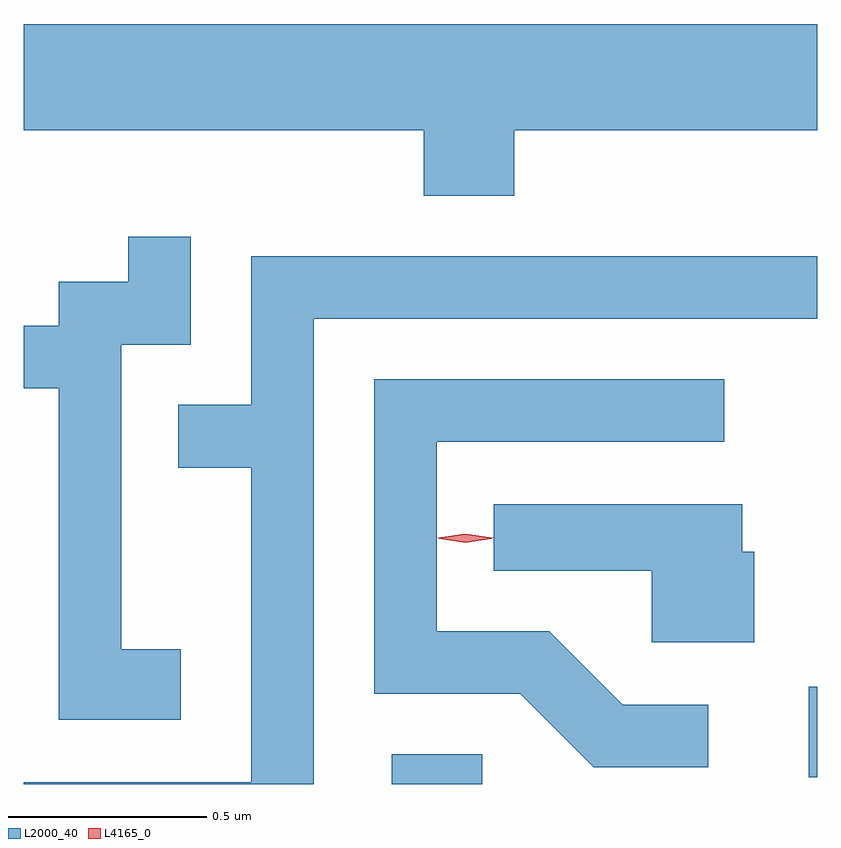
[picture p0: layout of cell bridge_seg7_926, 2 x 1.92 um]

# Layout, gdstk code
import gdstk
lib = gdstk.Library(unit=1e-6, precision=1e-09)
def R(c, l, rs):  # rectangles x0, y0, x1, y1
    for r in rs: c.add(gdstk.rectangle(r[:2], r[2:], *l))
def P(c, l, *ps):  # polygons
    for p in ps: c.add(gdstk.Polygon(p, *l))
L2000_40 = (2000, 40)
L4165_0 = (4165, 0)

bridge_seg7_926 = lib.new_cell('bridge_seg7_926')
R(bridge_seg7_926, L2000_40, [(605.701,1694.909,605.929,1694.984), (606.751,1694.926,606.773,1695.154)])
P(bridge_seg7_926, L2000_40, [(606.009,1696.556),(606.773,1696.556),(606.773,1696.824),(604.773,1696.824),(604.773,1696.556),(605.781,1696.556),(605.781,1696.391),(606.009,1696.391)],
  [(605.169,1695.249),(605.019,1695.249),(605.019,1696.016),(605.194,1696.016),(605.194,1696.288),(605.036,1696.288),(605.036,1696.174),(604.861,1696.174),(604.861,1696.064),(604.773,1696.064),(604.773,1695.906),(604.861,1695.906),(604.861,1695.071),(605.169,1695.071)],
  [(605.504,1696.081),(606.773,1696.081),(606.773,1696.239),(605.346,1696.239),(605.346,1695.864),(605.163,1695.864),(605.163,1695.706),(605.346,1695.706),(605.346,1694.914),(604.773,1694.914),(604.773,1694.909),(605.504,1694.909)],
  [(606.498,1695.109),(606.282,1695.109),(606.097,1695.294),(605.814,1695.294),(605.814,1695.771),(606.538,1695.771),(606.538,1695.929),(605.656,1695.929),(605.656,1695.136),(606.024,1695.136),(606.209,1694.951),(606.498,1694.951)],
  [(606.614,1695.494),(606.584,1695.494),(606.584,1695.614),(605.958,1695.614),(605.958,1695.446),(606.356,1695.446),(606.356,1695.266),(606.614,1695.266)])
P(bridge_seg7_926, L4165_0, [(605.886,1695.517),(605.82,1695.527),(605.819,1695.527),(605.82,1695.528),(605.886,1695.537),(605.952,1695.528),(605.953,1695.527),(605.952,1695.527)],
  [(605.886,1695.52),(605.817,1695.53),(605.817,1695.53),(605.817,1695.53),(605.886,1695.54),(605.955,1695.53),(605.956,1695.53),(605.955,1695.53)])

lib.write_gds('bridge_seg7_926.gds')
